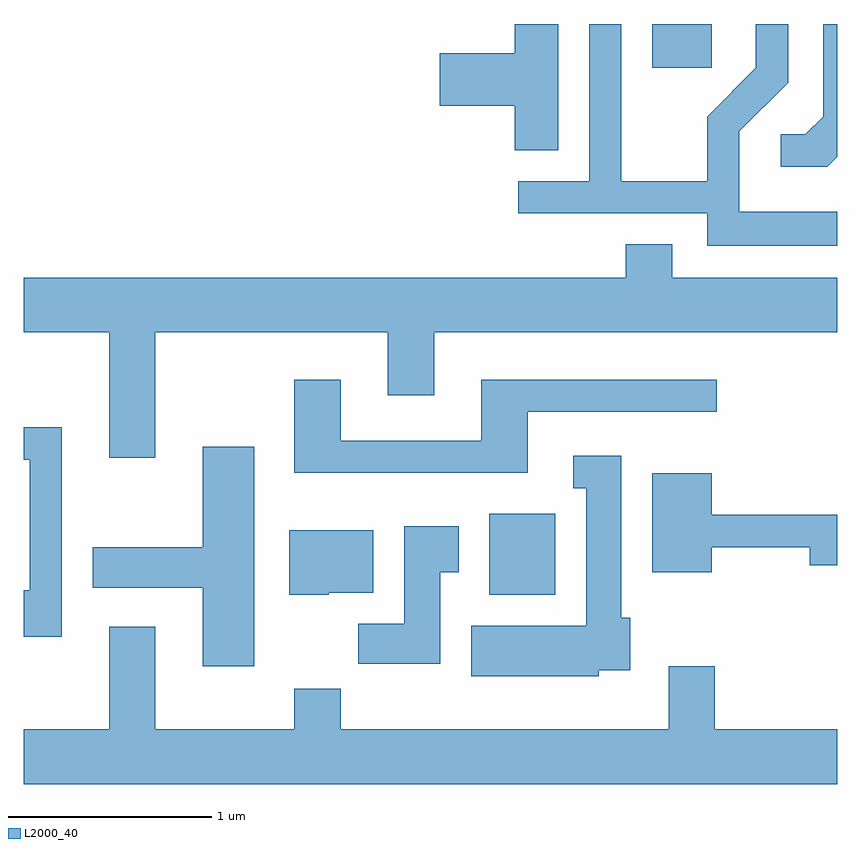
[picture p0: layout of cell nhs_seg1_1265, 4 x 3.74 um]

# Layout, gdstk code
import gdstk
lib = gdstk.Library(unit=1e-6, precision=1e-09)
def R(c, l, rs):  # rectangles x0, y0, x1, y1
    for r in rs: c.add(gdstk.rectangle(r[:2], r[2:], *l))
def P(c, l, *ps):  # polygons
    for p in ps: c.add(gdstk.Polygon(p, *l))
L2000_40 = (2000, 40)

nhs_seg1_1265 = lib.new_cell('nhs_seg1_1265')
R(nhs_seg1_1265, L2000_40, [(225.901,944.906,226.224,945.304), (226.701,947.496,226.994,947.712)])
P(nhs_seg1_1265, L2000_40, [(226.239,947.712),(226.026,947.712),(226.026,947.569),(225.656,947.569),(225.656,947.311),(226.026,947.311),(226.026,947.091),(226.239,947.091)],
  [(227.611,946.789),(227.129,946.789),(227.129,947.184),(227.369,947.424),(227.369,947.712),(227.211,947.712),(227.211,947.497),(226.971,947.257),(226.971,946.939),(226.549,946.939),(226.549,947.712),(226.391,947.712),(226.391,946.939),(226.043,946.939),(226.043,946.781),(226.971,946.781),(226.971,946.621),(227.611,946.621)],
  [(227.611,947.06),(227.611,947.712),(227.541,947.712),(227.541,947.257),(227.454,947.169),(227.333,947.169),(227.333,947.011),(227.562,947.011)],
  [(224.259,946.196),(225.401,946.196),(225.401,945.886),(225.629,945.886),(225.629,946.196),(227.611,946.196),(227.611,946.464),(226.799,946.464),(226.799,946.629),(226.571,946.629),(226.571,946.464),(223.611,946.464),(223.611,946.196),(224.031,946.196),(224.031,945.581),(224.259,945.581)],
  [(226.089,945.806),(227.018,945.806),(227.018,945.964),(225.861,945.964),(225.861,945.664),(225.169,945.664),(225.169,945.964),(224.941,945.964),(224.941,945.506),(226.089,945.506)],
  [(223.799,945.729),(223.611,945.729),(223.611,945.571),(223.641,945.571),(223.641,944.929),(223.611,944.929),(223.611,944.701),(223.799,944.701)],
  [(224.744,945.634),(224.491,945.634),(224.491,945.139),(223.951,945.139),(223.951,944.941),(224.491,944.941),(224.491,944.556),(224.744,944.556)],
  [(226.439,944.536),(226.594,944.536),(226.594,944.794),(226.549,944.794),(226.549,945.589),(226.313,945.589),(226.313,945.431),(226.376,945.431),(226.376,944.754),(225.811,944.754),(225.811,944.506),(226.439,944.506)],
  [(226.994,945.141),(227.476,945.141),(227.476,945.051),(227.611,945.051),(227.611,945.299),(226.994,945.299),(226.994,945.504),(226.701,945.504),(226.701,945.016),(226.994,945.016)],
  [(225.659,945.016),(225.749,945.016),(225.749,945.244),(225.481,945.244),(225.481,944.764),(225.256,944.764),(225.256,944.566),(225.659,944.566)],
  [(225.11,944.916),(225.329,944.916),(225.329,945.224),(224.916,945.224),(224.916,944.906),(225.11,944.906)],
  [(227.611,944.244),(227.009,944.244),(227.009,944.554),(226.781,944.554),(226.781,944.244),(225.169,944.244),(225.169,944.444),(224.941,944.444),(224.941,944.244),(224.259,944.244),(224.259,944.749),(224.031,944.749),(224.031,944.244),(223.611,944.244),(223.611,943.976),(227.611,943.976)])

lib.write_gds('nhs_seg1_1265.gds')
